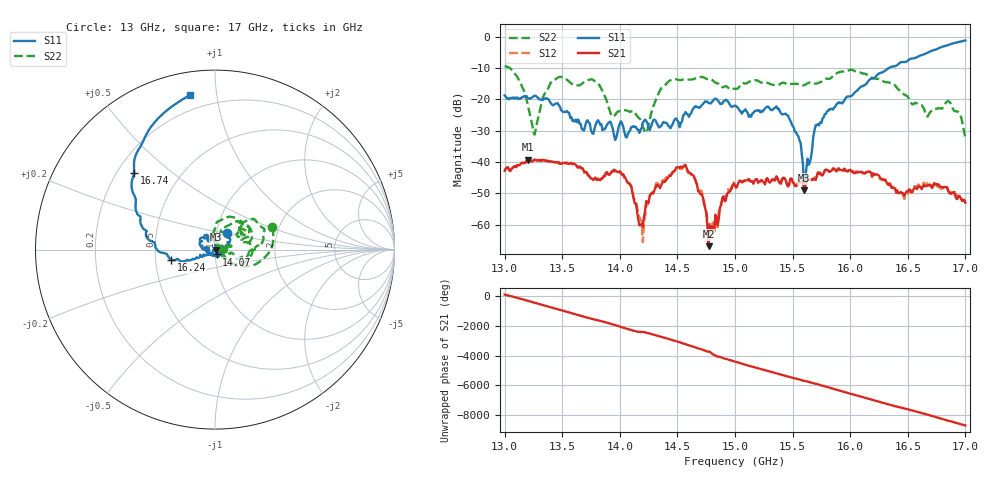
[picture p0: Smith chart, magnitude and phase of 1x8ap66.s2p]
!Keysight Technologies,P9374A,MY57211807,A.19.30.04
!Date: Friday, May 08, 2026 15:02:07
!Correction: S11(C  2-Port  )
!S21(C  2-Port  )
!S12(C  2-Port  )
!S22(C  2-Port  )
!S2P File: Measurements: S11, S21, S12, S22:
# Hz S  dB  R 50
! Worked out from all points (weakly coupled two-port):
!   401 points, 13 GHz to 17 GHz, reference 50 ohm
!   highest |S21| = -39.30 dB at 13.2 GHz (marker M1); lowest = -66.9 dB at 14.77 GHz (marker M2)
!   lowest |S11| = -49.1 dB at 15.6 GHz (marker M3), VSWR 1.01, Z = 50.4 - j0.0231 ohm
!   |S11| at or under -10 dB: start of sweep to 16.33 GHz
!   |S22| runs from -32.3 to -9.3 dB; largest |S21 - S12| = 0.00075
!   S11 on the Smith chart (normalised r, x): 13 GHz: 1.12, +0.21; 14.07 GHz: 1.02, -0.05; 16.24 GHz: 0.60, -0.07; 16.74 GHz: 0.27, +0.37; 17 GHz: 0.12, +0.85
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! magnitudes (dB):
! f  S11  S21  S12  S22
! 13 GHz  -18.8  -42.8  -42.7  -9.3
! 13.2 GHz  -19.6  -39.3  -39.3  -21.7
! 13.26 GHz  -18.9  -39.3  -39.2  -31.2
! 13.42 GHz  -21.9  -39.9  -40.0  -14.0
! 13.67 GHz  -29.4  -41.9  -42.1  -15.0
! 14.07 GHz  -31.0  -46.7  -46.6  -23.7
! 14.19 GHz  -29.1  -59.8  -58.8  -27.5
! 14.24 GHz  -27.7  -52.9  -53.6  -29.7
! 14.34 GHz  -29.0  -47.8  -47.2  -17.8
! 14.57 GHz  -24.1  -40.9  -41.3  -13.6
! 14.77 GHz  -21.2  -66.9  -60.1  -13.5
! 15 GHz  -22.0  -47.7  -47.4  -16.6
! 15.45 GHz  -25.0  -47.2  -46.8  -15.1
! 15.55 GHz  -31.8  -46.9  -47.1  -15.1
! 15.6 GHz  -49.1  -47.8  -48.1  -15.4
! 15.67 GHz  -35.8  -45.8  -45.7  -14.7
! 15.8 GHz  -23.8  -42.6  -42.6  -13.4
! 16.24 GHz  -12.0  -44.1  -44.7  -13.5
! 16.34 GHz  -9.9  -47.0  -46.7  -14.7
! 16.74 GHz  -4.1  -47.1  -47.3  -23.0
! 16.86 GHz  -2.5  -50.0  -49.5  -20.7
! 17 GHz  -1.2  -53.0  -53.2  -32.3
